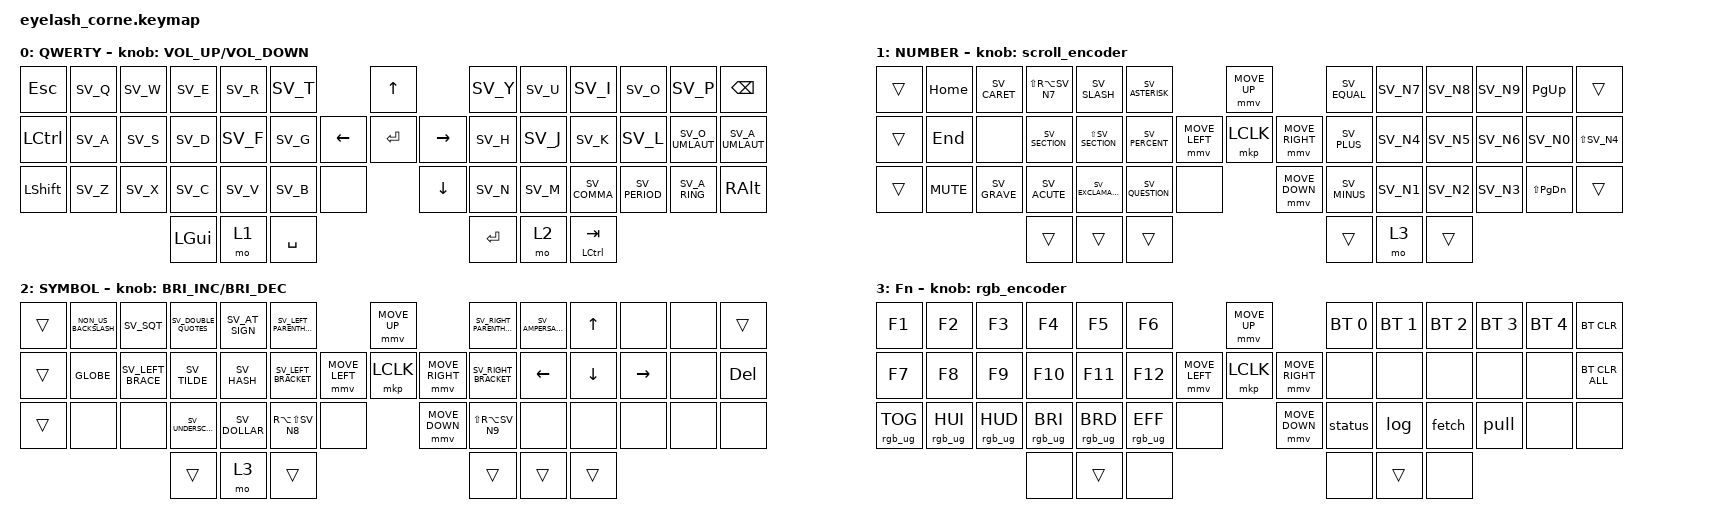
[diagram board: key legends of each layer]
#define ZMK_POINTING_DEFAULT_MOVE_VAL 1200  // 600
#define ZMK_POINTING_DEFAULT_SCRL_VAL 25   // 10

#include <input/processors.dtsi>
#include <zephyr/dt-bindings/input/input-event-codes.h>
#include <behaviors.dtsi>
#include <dt-bindings/zmk/bt.h>
#include <dt-bindings/zmk/keys.h>
#include <dt-bindings/zmk/pointing.h>
#include <dt-bindings/zmk/rgb.h>
#include "keys_sv.h"

&mmv_input_listener { input-processors = <&zip_xy_scaler 2 1>; };

&msc_input_listener { input-processors = <&zip_scroll_scaler 2 1>; };

&msc {
    acceleration-exponent = <1>;      // 0
    time-to-max-speed-ms = <100>;       // 300
    delay-ms = <0>;                   // 0
};

&mmv {
    time-to-max-speed-ms = <500>;
    acceleration-exponent = <1>;
    trigger-period-ms = <16>;
};

/ {
    behaviors {
        td0: td0 {
            compatible = "zmk,behavior-tap-dance";
            display-name = "Shift/Caps Lock Tap Dance";
            #binding-cells = <0>;
            bindings = <&kp LEFT_SHIFT>, <&kp CAPS>;
        };
    };

    rgb_encoder: rgb_encoder {
        compatible = "zmk,behavior-sensor-rotate";
        #sensor-binding-cells = <0>;
        bindings = <&rgb_ug RGB_BRI>, <&rgb_ug RGB_BRD>;
    };

    scroll_encoder: scroll_encoder {
        compatible = "zmk,behavior-sensor-rotate";
        #sensor-binding-cells = <0>;
        bindings = <&msc SCRL_DOWN>, <&msc SCRL_UP>;

        tap-ms = <100>;
    };

    macros {
        fetch: fetch {
            compatible = "zmk,behavior-macro";
            #binding-cells = <0>;
            bindings = <&kp F &kp E &kp T &kp C &kp H>;
            label = "FETCH";
        };

        pull: pull {
            compatible = "zmk,behavior-macro";
            #binding-cells = <0>;
            bindings = <&kp P &kp U &kp L &kp L>;
            label = "PULL";
        };

        push: push {
            compatible = "zmk,behavior-macro";
            #binding-cells = <0>;
            bindings = <&kp P &kp U &kp S &kp H>;
            label = "PUSH";
        };

        add: add {
            compatible = "zmk,behavior-macro";
            #binding-cells = <0>;
            bindings = <&kp A &kp D &kp D>;
            label = "ADD";
        };

        commit: commit {
            compatible = "zmk,behavior-macro";
            #binding-cells = <0>;
            bindings = <&kp C &kp O &kp M &kp M &kp I &kp T>;
            label = "COMMIT";
        };

        log: log {
            compatible = "zmk,behavior-macro";
            #binding-cells = <0>;
            bindings = <&kp G &kp L &kp O &kp G>;
            label = "LOG";
        };

        status: status {
            compatible = "zmk,behavior-macro";
            #binding-cells = <0>;
            bindings = <&kp S &kp T &kp A &kp T &kp U &kp S>;
            label = "STATUS";
        };
    };

    keymap {
        compatible = "zmk,keymap";

        default_layer {
            display-name = "QWERTY";
            bindings = <
&kp ESC           &kp SV_Q  &kp SV_W  &kp SV_E  &kp SV_R  &kp SV_T                      &kp UP                &kp SV_Y   &kp SV_U  &kp SV_I       &kp SV_O       &kp SV_P         &kp BSPC
&kp LEFT_CONTROL  &kp SV_A  &kp SV_S  &kp SV_D  &kp SV_F  &kp SV_G            &kp LEFT  &kp ENTER  &kp RIGHT  &kp SV_H   &kp SV_J  &kp SV_K       &kp SV_L       &kp SV_O_UMLAUT  &kp SV_A_UMLAUT
&kp LEFT_SHIFT    &kp SV_Z  &kp SV_X  &kp SV_C  &kp SV_V  &kp SV_B   &none              &kp DOWN              &kp SV_N   &kp SV_M  &kp SV_COMMA   &kp SV_PERIOD  &kp SV_A_RING    &kp RIGHT_ALT
                                      &kp LGUI  &mo 1     &kp SPACE                                           &kp ENTER  &mo 2     &mt LCTRL TAB
            >;

            sensor-bindings = <&inc_dec_kp C_VOLUME_UP C_VOLUME_DOWN>;
        };

        lower_layer {
            display-name = "NUMBER";
            bindings = <
&trans  &kp HOME    &kp SV_CARET  &kp LS(RA(SV_N7))  &kp SV_SLASH        &kp SV_ASTERISK                           &mmv MOVE_UP                     &kp SV_EQUAL  &kp SV_N7  &kp SV_N8  &kp SV_N9  &kp PAGE_UP        &trans
&trans  &kp END     &none         &kp SV_SECTION     &kp LS(SV_SECTION)  &kp SV_PERCENT            &mmv MOVE_LEFT  &mkp LCLK       &mmv MOVE_RIGHT  &kp SV_PLUS   &kp SV_N4  &kp SV_N5  &kp SV_N6  &kp SV_N0          &kp LS(SV_N4)
&trans  &kp C_MUTE  &kp SV_GRAVE  &kp SV_ACUTE       &kp SV_EXCLAMATION  &kp SV_QUESTION  &none                    &mmv MOVE_DOWN                   &kp SV_MINUS  &kp SV_N1  &kp SV_N2  &kp SV_N3  &kp LS(PAGE_DOWN)  &trans
                                  &trans             &trans              &trans                                                                     &trans        &mo 3      &trans
            >;

            sensor-bindings = <&scroll_encoder>;
        };

        raise_layer {
            display-name = "SYMBOL";
            bindings = <
&trans  &kp NON_US_BACKSLASH  &kp SV_SQT         &kp SV_DOUBLE_QUOTES  &kp SV_AT_SIGN  &kp SV_LEFT_PARENTHESIS                           &mmv MOVE_UP                     &kp SV_RIGHT_PARENTHESIS  &kp SV_AMPERSAND  &kp UP_ARROW    &none      &none  &trans
&trans  &kp GLOBE             &kp SV_LEFT_BRACE  &kp SV_TILDE          &kp SV_HASH     &kp SV_LEFT_BRACKET               &mmv MOVE_LEFT  &mkp LCLK       &mmv MOVE_RIGHT  &kp SV_RIGHT_BRACKET      &kp LEFT_ARROW    &kp DOWN_ARROW  &kp RIGHT  &none  &kp DELETE
&trans  &none                 &none              &kp SV_UNDERSCORE     &kp SV_DOLLAR   &kp RA(LS(SV_N8))        &none                    &mmv MOVE_DOWN                   &kp LS(RA(SV_N9))         &none             &none           &none      &none  &none
                                                 &trans                &mo 3           &trans                                                                             &trans                    &trans            &trans
            >;

            sensor-bindings = <&inc_dec_kp C_BRIGHTNESS_INC C_BRIGHTNESS_DEC>;
        };

        layer_3 {
            display-name = "Fn";
            bindings = <
&kp F1           &kp F2           &kp F3           &kp F4           &kp F5           &kp F6                                    &mmv MOVE_UP                     &bt BT_SEL 0  &bt BT_SEL 1  &bt BT_SEL 2  &bt BT_SEL 3  &bt BT_SEL 4  &bt BT_CLR
&kp F7           &kp F8           &kp F9           &kp F10          &kp F11          &kp F12                   &mmv MOVE_LEFT  &mkp LCLK       &mmv MOVE_RIGHT  &none         &none         &none         &none         &none         &bt BT_CLR_ALL
&rgb_ug RGB_TOG  &rgb_ug RGB_HUI  &rgb_ug RGB_HUD  &rgb_ug RGB_BRI  &rgb_ug RGB_BRD  &rgb_ug RGB_EFF  &none                    &mmv MOVE_DOWN                   &status       &log          &fetch        &pull         &none         &none
                                                   &none            &trans           &none                                                                      &none         &trans        &none
            >;

            sensor-bindings = <&rgb_encoder>;
        };
    };
};
